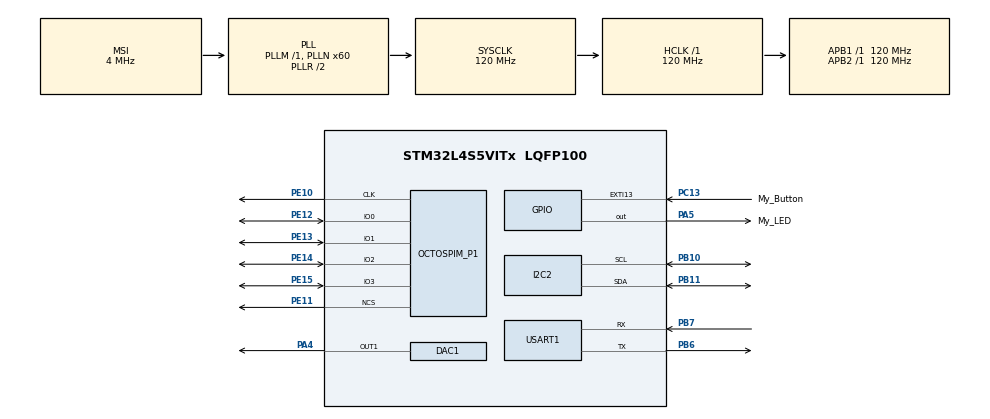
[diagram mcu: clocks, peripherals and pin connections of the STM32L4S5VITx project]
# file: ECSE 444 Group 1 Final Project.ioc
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DAC1.DAC_Trigger-DAC_OUT1=DAC_TRIGGER_T2_TRGO
Dma.DAC1_CH1.0.Direction=DMA_MEMORY_TO_PERIPH
Dma.DAC1_CH1.0.EventEnable=DISABLE
Dma.DAC1_CH1.0.Instance=DMA1_Channel1
Dma.DAC1_CH1.0.MemDataAlignment=DMA_MDATAALIGN_BYTE
Dma.DAC1_CH1.0.MemInc=DMA_MINC_ENABLE
Dma.DAC1_CH1.0.Mode=DMA_CIRCULAR
Dma.DAC1_CH1.0.PeriphDataAlignment=DMA_PDATAALIGN_BYTE
Dma.DAC1_CH1.0.PeriphInc=DMA_PINC_DISABLE
Dma.DAC1_CH1.0.Polarity=HAL_DMAMUX_REQUEST_GEN_RISING
Dma.DAC1_CH1.0.Priority=DMA_PRIORITY_LOW
Dma.DAC1_CH1.0.RequestNumber=1
Dma.DAC1_CH1.0.SignalID=NONE
Dma.DAC1_CH1.0.SyncEnable=DISABLE
Dma.DAC1_CH1.0.SyncPolarity=HAL_DMAMUX_SYNC_NO_EVENT
Dma.DAC1_CH1.0.SyncRequestNumber=1
Dma.DAC1_CH1.0.SyncSignalID=NONE
Dma.Request0=DAC1_CH1
I2C2.Timing=0x307075B1
Mcu.Family=STM32L4
Mcu.Name=STM32L4S5VITx
Mcu.Package=LQFP100
NVIC.DMA1_Channel1_IRQn=true\:0\:0\:false\:false\:true\:false\:true\:true
NVIC.EXTI15_10_IRQn=true\:0\:0\:false\:false\:true\:true\:true\:true
NVIC.PriorityGroup=NVIC_PRIORITYGROUP_4
NVIC.TIM2_IRQn=true\:0\:0\:false\:false\:true\:true\:true\:true
NVIC.TIM6_DAC_IRQn=true\:15\:0\:false\:false\:true\:false\:true\:true
NVIC.TimeBase=TIM6_DAC_IRQn
NVIC.TimeBaseIP=TIM6
PA4.Signal=COMP_DAC11_group
PA5.GPIO_Label=My_LED
PA5.Signal=GPIO_Output
PB10.Mode=I2C
PB10.Signal=I2C2_SCL
PB11.Mode=I2C
PB11.Signal=I2C2_SDA
PB6.Mode=Asynchronous
PB6.Signal=USART1_TX
PB7.Mode=Asynchronous
PB7.Signal=USART1_RX
PC13.GPIO_Label=My_Button
PC13.Signal=GPXTI13
PE10.Mode=O1_P1_CLK
PE10.Signal=OCTOSPIM_P1_CLK
PE11.Mode=OCTOSPI1_Port1_NCS
PE11.Signal=OCTOSPIM_P1_NCS
PE12.Mode=OCTOSPI1_IOL_Port1L
PE12.Signal=OCTOSPIM_P1_IO0
PE13.Mode=OCTOSPI1_IOL_Port1L
PE13.Signal=OCTOSPIM_P1_IO1
PE14.Mode=OCTOSPI1_IOL_Port1L
PE14.Signal=OCTOSPIM_P1_IO2
PE15.Mode=OCTOSPI1_IOL_Port1L
PE15.Signal=OCTOSPIM_P1_IO3
ProjectManager.HeapSize=0x200
ProjectManager.StackSize=0x400
ProjectManager.TargetToolchain=STM32CubeIDE
RCC.ADCFreq_Value=48000000
RCC.AHBFreq_Value=120000000
RCC.APB1Freq_Value=120000000
RCC.APB1TimFreq_Value=120000000
RCC.APB2Freq_Value=120000000
RCC.APB2TimFreq_Value=120000000
RCC.CortexFreq_Value=120000000
RCC.HCLKFreq_Value=120000000
RCC.HSE_VALUE=8000000
RCC.HSI48_VALUE=48000000
RCC.HSI_VALUE=16000000
RCC.LSE_VALUE=32768
RCC.MSI_VALUE=4000000
RCC.PLLN=60
RCC.PLLSAI1N=24
RCC.SYSCLKFreq_VALUE=120000000
RCC.SYSCLKSource=RCC_SYSCLKSOURCE_PLLCLK
RCC.USBFreq_Value=48000000
RCC.VCOOutputFreq_Value=240000000
SH.COMP_DAC11_group.0=DAC1_OUT1,DAC_OUT1
TIM2.Period=1814
TIM2.TIM_MasterOutputTrigger=TIM_TRGO_UPDATE
USART1.VirtualMode-Asynchronous=VM_ASYNC
VP_OCTOSPI1_VS_quad.Mode=quad_mode
VP_SYS_VS_tim6.Mode=TIM6
VP_TIM2_VS_ClockSourceINT.Mode=Internal
board=B-L4S5I-IOT01A

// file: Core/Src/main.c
/* USER CODE BEGIN Header */
/**
  ******************************************************************************
  * @file           : main.c
  * @brief          : Main program body
  ******************************************************************************
  * @attention
  *
  * Copyright (c) 2022 STMicroelectronics.
  * All rights reserved.
  *
  * This software is licensed under terms that can be found in the LICENSE file
  * in the root directory of this software component.
  * If no LICENSE file comes with this software, it is provided AS-IS.
  *
  ******************************************************************************
  */
/* USER CODE END Header */
#include "main.h"

/* USER CODE BEGIN Includes */
#define ARM_MATH_CN4
#include "arm_math.h"

#include "stm32l4s5i_iot01.h"
#include "stm32l4s5i_iot01_gyro.h"
#include "stm32l4s5i_iot01_qspi.h"

#include <stdio.h>
#include <string.h>
#include <stdlib.h>
/* USER CODE END Includes */

/* USER CODE BEGIN PD */
#define GYRO_SIGMA_TO_DEGREESx10 14286
#define ROAD_WIDTH 4
#define ROAD_LENGTH 10
#define pi 3.14159265
/* USER CODE END PD */

 DAC_HandleTypeDef hdac1;
DMA_HandleTypeDef hdma_dac1_ch1;

I2C_HandleTypeDef hi2c2;

OSPI_HandleTypeDef hospi1;

TIM_HandleTypeDef htim2;

UART_HandleTypeDef huart1;

/* USER CODE BEGIN PV */
int MAX_COUNT = 3;

char gyro_buf[100];
char UI_buf[400];

static int ax = 0;
static int ay = 0;
static int az = 0;

float previous_gyro[3];
float gyro_values[3];
int deg_values[3];

int obstacle[4];
int random_value;
int satellite_pos;

int turning_flag = 0;
int obs_pos = -1;
int is_pressed = 0;
int is_printed = 0;

HAL_StatusTypeDef  UART_status;

// UI Definitions
// Demo
/*
1th     |     |     ^     |     |       where obstacle was created
2nd     |     ^     |     ^     |
3rd     ^     |     |     |     ^
4th     |     |     |     |     |
5th     |     |     |     |     |
6th     |     |     |     |     |
7th     |     |     |     |     |
8th     |     |     |     |     |
9th     |     |     |     |     |
10h     |     |     |     |     |       satellite
 */

// each line has 33 characters
// notice "\\" is one character for '\'
char map[400] = "v     |     |     ^     |     |\r\n"
				" v    |     ^     |     ^     |\r\n"
				"  v   ^     |     |     |     ^\r\n"
				"   v  |     |     |     |     |\r\n"
				"    v |     |     |     |     |\r\n"
				"    v |     |     |     |     |\r\n"
				"   v  |     |     |     |     |\r\n"
				"  v   |     |     |     |     |\r\n"
				" v    |     |     |     |     |\r\n"
				"v     |     |     |     |     |\r\n";

char satellite_UI[5] = "=[x]=";

int satellite_pos = 0;

char *welcome = "|~~~~~~~~~~~~~~~~~~~~~~~~~~~~~|\r\n"
				"|                             |\r\n"
				"|                             |\r\n"
				"|          Press              |\r\n"
				"|          Blue Button        |\r\n"
				"|          To Start           |\r\n"
				"|                             |\r\n"
				"|                             |\r\n"
				"|                             |\r\n"
				"|~~~~~~~~~~~~~~~~~~~~~~~~~~~~~|\r\n";

char *end_1= "|~~~~~~~~~~~~~~~~~~~~~~~~~~~~~|\r\n"
			 "|                             |\r\n"
		     "|         Game over!          |\r\n"
		     "|         Your Score:         |\r\n";
char *end_2= "|                             |\r\n"
			 "|         Press               |\r\n"
			 "|         Blue Button         |\r\n"
			 "|         To Restart          |\r\n"
			 "|~~~~~~~~~~~~~~~~~~~~~~~~~~~~~|\r\n";

int score = 0;

char obs_UI[5] = "oOoOo";

// update map when it reach 4
int mapUpdateCounter = 0;
int order = 0;

// 0 welcome message
// 1 start game
// 2 game over
int gameStatus = 0;

// The arrays to store the tones
uint8_t F3[253];
uint8_t G3[225];
uint8_t A3[200];
uint8_t AA3[189];
uint8_t B3[179];

uint8_t C4[169];
uint8_t CC4[159];
uint8_t D4[150];
uint8_t DD4[142];
uint8_t E4[134];
uint8_t F4[126];
uint8_t FF4[120];
uint8_t G4[113];
uint8_t GG4[106];
uint8_t A4[100];
uint8_t AA4[95];
uint8_t B4[89];

uint8_t C5[84];
uint8_t CC5[80];
uint8_t D5[75];
uint8_t DD5[71];
uint8_t E5[67];
uint8_t F5[63];
uint8_t FF5[60];
uint8_t G5[56];
uint8_t GG5[53];
uint8_t A5[50];
uint8_t AA5[47];
uint8_t B5[45];

uint8_t C6[42];
uint8_t CC6[40];
uint8_t D6[38];
uint8_t DD6[35];
uint8_t E6[33];
uint8_t F6[32];
uint8_t FF6[30];
uint8_t G6[28];
uint8_t GG6[27];
uint8_t A6[25];
uint8_t AA6[24];
uint8_t B6[22];

uint8_t C7[21];
uint8_t CC7[20];
uint8_t D7[19];
uint8_t DD7[18];
uint8_t E7[17];
uint8_t F7[16];
uint8_t FF7[15];
uint8_t G7[14];
uint8_t GG7[13];
uint8_t A7[13];
uint8_t AA7[12];
uint8_t B7[11];

uint8_t C8[11];
uint8_t CC8[10];
uint8_t D8[9];
uint8_t DD8[9];
uint8_t E8[8];
uint8_t F8[8];
uint8_t FF8[7];
uint8_t G8[7];
uint8_t GG8[7];
uint8_t A8[6];
uint8_t AA8[6];
uint8_t B8[6];

uint8_t Pause[1];

uint32_t addr = 0x000000;
uint32_t game_music_addr = 0x00000000;
uint32_t slow_music_addr = 0x00020000;
uint32_t music2_addr = 0x00000000;
/* USER CODE END PV */

void SystemClock_Config(void);
static void MX_GPIO_Init(void);
static void MX_DAC1_Init(void);
static void MX_DMA_Init(void);
static void MX_USART1_UART_Init(void);
static void MX_I2C2_Init(void);
static void MX_TIM2_Init(void);
static void MX_OCTOSPI1_Init(void);

/* USER CODE BEGIN 0 */

/**
  * @brief Do the  integration for the gyroscope
  *
  * @param sample_x: value of x
  * @param sample_y: value of y
  * @param sample_z: value of z
  *
  * @retval None
  */
void gyroIntegrate(int sample_x, int sample_y, int sample_z)
{
    ax += sample_x - previous_gyro[0];
    ay += sample_y - previous_gyro[1];
    az += sample_z - previous_gyro[2];
}

/**
  * @brief Convert the gyroscope outputs to degree
  *
  *
  * @param xdeg: degree of x = ax * s / r
  * @param ydeg: degree of y = ay * s / r
  * @param zdeg: degree of z = az * s / r
  *
  * @note r is the gyro resolution in degrees per second (0.07)
  * @note s is the sample rate (100)
  * @note GYRO_SIGMA_TO_DEGREESx10 = 100 / 0.07 * 10 = 1428.57 * 10 = 14286
  * @note Times by 100 to change to integer instead of float
  *
  * @retval None
  */
void getAngleXYZ(int *deg_values)
{
	deg_values[0] = (ax * 10) / GYRO_SIGMA_TO_DEGREESx10;
	deg_values[1] = (ay * 10) / GYRO_SIGMA_TO_DEGREESx10;
	deg_values[2] = (az * 10) / GYRO_SIGMA_TO_DEGREESx10;
}

/**
  * @brief Update the map by copying each row
  */
void updateMap()
{
	// Copy the last row and paste to first row later
	char temp[40] = "";
	for (int j = 0; j < 33; j++){
		temp[j] =  map[33 * 9 + j];
	}

	// Copy the first row to the second row, second to third, and third to forth
	int i = 0;
	for (i = 9; i > 0; i--){
		for (int j = 0; j < 33; j++){
			map[33 * i + j] =  map[33 * (i - 1) + j];
		}
	}

	// Update first row
	map[0]  = temp[0];
	map[6]  = temp[6];
	map[12] = temp[12];
	map[18] = temp[18];
	map[24] = temp[24];
	map[30] = temp[30];

	for (int j = 1; j < 6; j++){
		map[j] = temp[j];
		map[6 + j]  = ' ';
		map[12 + j] = ' ';
		map[18 + j] = ' ';
		map[24 + j] = ' ';
	}
}

/**
  * @brief Update the satellite in UI
  *
  * @param x: the new position of the satellite in UI
  *
  */
void updateSatellite(int x){
	// clear the old position first
	for (int i = 0; i < 5; i++){
		map[33 * 9 + 6 + 6 * satellite_pos + 1 + i] = ' ';
	}

	if (x >= 0 && x <= 3){
		for (int j = 0; j < 5; j++){
			map[33 * 9 + 6 + 1 + (6 * x) + j] = satellite_UI[j];
		}
		satellite_pos = x;

	} else {
		updateSatellite(satellite_pos);
	}
}

/**
  * @brief Put a obstacle in UI
  *
  * @param x: the position of the obstacle in UI
  *
  */
void generateObstacle(int track){
	if(track >= 0 && track <= 3){
		for (int j = 0; j < 5; j++){
			map[6 + 6 * track + 1 + j] = obs_UI[j];
		}
	}
}

/**
  * @brief Clean the screen and print the message inputed
  *
  * @param msg: The message to be printed
  *
  */
void printMessage(char *msg){
	// Clear the content first
	memset(UI_buf, 0, strlen(UI_buf));
	sprintf(UI_buf, "\033[10A");
	HAL_UART_Transmit(&huart1, (uint8_t *) UI_buf, (uint16_t) strlen(UI_buf), 30000);

	// Clean UI_buf
	memset(UI_buf, 0, strlen(UI_buf));
	sprintf(UI_buf, msg);
	HAL_UART_Transmit(&huart1, (uint8_t *) UI_buf, strlen(UI_buf), 10000);
}

/**
  * @brief Print the ending UI
  */
void printEndingMessage(){
	memset(UI_buf, 0, strlen(UI_buf));
	sprintf(UI_buf, "\033[2J\033[10A");
	HAL_UART_Transmit(&huart1, (uint8_t *) UI_buf, (uint16_t) strlen(UI_buf), 30000);

	memset(UI_buf, 0, strlen(UI_buf));	//clears UI_buf
	sprintf(UI_buf, end_1);
	HAL_UART_Transmit(&huart1, (uint8_t *) UI_buf, sizeof(UI_buf), 10000);

	memset(UI_buf, 0, strlen(UI_buf));	//clears UI_buf
	sprintf(UI_buf, "|             %4d            |\r\n", score);
	HAL_UART_Transmit(&huart1, (uint8_t *) UI_buf, sizeof(UI_buf), 10000);

	memset(UI_buf, 0, strlen(UI_buf));	//clears UI_buf
	sprintf(UI_buf, end_2);
	HAL_UART_Transmit(&huart1, (uint8_t *) UI_buf, sizeof(UI_buf), 10000);

}

/**
 * @brief Create the tones needed for the music and sound effect
 */
void createTones(){

	// Pause
	for(int i = 0; i < 1; i++){
		Pause[i] = (uint8_t) 0;
	}

	/**
	 * ===================== Octave 3 =====================
	 */

	// Tone F3 = 174.61 Hz
	for(int i = 0; i < 253; i++){
		F3[i] = (uint8_t) (0.33 * (1 + arm_sin_f32(2 * pi * i / 253)) * 256);
	}

	// Tone G3 = 196.00 Hz
	for(int i = 0; i < 225; i++){
		G3[i] = (uint8_t) (0.33 * (1 + arm_sin_f32(2 * pi * i / 225)) * 256);
	}

	// Tone A3 = 220.00 Hz
	for(int i = 0; i < 200; i++){
		A3[i] = (uint8_t) (0.33 * (1 + arm_sin_f32(2 * pi * i / 200)) * 256);
	}

	// Tone AA3 = 233.08 Hz
	for(int i = 0; i < 189; i++){
		AA3[i] = (uint8_t) (0.33 * (1 + arm_sin_f32(2 * pi * i / 189)) * 256);
	}

	// Tone B3 = 246.94 Hz
	for(int i = 0; i < 179; i++){
		B3[i] = (uint8_t) (0.33 * (1 + arm_sin_f32(2 * pi * i / 179)) * 256);
	}

	/**
	 * ===================== Octave 4 =====================
	 */
	// Tone C4 = 261.63 Hz
	for(int i = 0; i < 169; i++){
		C4[i] = (uint8_t) (0.33 * (1 + arm_sin_f32(2 * pi * i / 169)) * 256);
	}

	// Tone CC4 = 277.18 Hz
	for(int i = 0; i < 159; i++){
		CC4[i] = (uint8_t) (0.33 * (1 + arm_sin_f32(2 * pi * i / 159)) * 256);
	}

	// Tone D4 = 293.66 Hz
	for(int i = 0; i < 150; i++){
		D4[i] = (uint8_t) (0.33 * (1 + arm_sin_f32(2 * pi * i / 150)) * 256);
	}

	// Tone DD4 = 311.13 Hz
	for(int i = 0; i < 142; i++){
		DD4[i] = (uint8_t) (0.33 * (1 + arm_sin_f32(2 * pi * i / 142)) * 256);
	}

	// Tone E4 = 329.63 Hz
	for(int i = 0; i < 134; i++){
		E4[i] = (uint8_t) (0.33 * (1 + arm_sin_f32(2 * pi * i / 134)) * 256);
	}

	// Tone F4 = 349.23 Hz
	for(int i = 0; i < 126; i++){
		F4[i] = (uint8_t) (0.33 * (1 + arm_sin_f32(2 * pi * i / 126)) * 256);
	}

	// Tone FF4 = 369.99 Hz
	for(int i = 0; i < 120; i++){
		FF4[i] = (uint8_t) (0.33 * (1 + arm_sin_f32(2 * pi * i / 120)) * 256);
	}

	// Tone G4 = 392.00 Hz
	for(int i = 0; i < 113; i++){
		G4[i] = (uint8_t) (0.33 * (1 + arm_sin_f32(2 * pi * i / 113)) * 256);
	}

	// Tone GG4 = 415.30 Hz
	for(int i = 0; i < 106; i++){
		GG4[i] = (uint8_t) (0.33 * (1 + arm_sin_f32(2 * pi * i / 106)) * 256);
	}

	// Tone A4 = 440.00 Hz
	for(int i = 0; i < 100; i++){
		A4[i] = (uint8_t) (0.33 * (1 + arm_sin_f32(2 * pi * i / 100)) * 256);
	}

	// Tone AA4 = 466.16 Hz
	for(int i = 0; i < 95; i++){
		AA4[i] = (uint8_t) (0.33 * (1 + arm_sin_f32(2 * pi * i / 95)) * 256);
	}

	// Tone B4 = 493.88 Hz
	for(int i = 0; i < 89; i++){
		B4[i] = (uint8_t) (0.33 * (1 + arm_sin_f32(2 * pi * i / 89)) * 256);
	}

	/**
	 * ===================== Octave 5 =====================
	 */
	// Tone C5 = 523.25 Hz
	for(int i = 0; i < 84; i++){
		C5[i] = (uint8_t) (0.33 * (1 + arm_sin_f32(2 * pi * i / 84)) * 256);
	}

	// Tone CC5 = 554.37 Hz
	for(int i = 0; i < 80; i++){
		CC5[i] = (uint8_t) (0.33 * (1 + arm_sin_f32(2 * pi * i / 80)) * 256);
	}

	// Tone D5 = 587.33 Hz
	for(int i = 0; i < 75; i++){
		D5[i] = (uint8_t) (0.33 * (1 + arm_sin_f32(2 * pi * i / 75)) * 256);
	}

	// Tone DD5 = 622.25 Hz
	for(int i = 0; i < 71; i++){
		DD5[i] = (uint8_t) (0.33 * (1 + arm_sin_f32(2 * pi * i / 71)) * 256);
	}

	// Tone E5 = 659.25 Hz
	for(int i = 0; i < 67; i++){
		E5[i] = (uint8_t) (0.33 * (1 + arm_sin_f32(2 * pi * i / 67)) * 256);
	}

	// Tone F5 = 698.46 Hz
	for(int i = 0; i < 63; i++){
		F5[i] = (uint8_t) (0.33 * (1 + arm_sin_f32(2 * pi * i / 63)) * 256);
	}

	// Tone FF5 = 739.99 Hz
	for(int i = 0; i < 60; i++){
		FF5[i] = (uint8_t) (0.33 * (1 + arm_sin_f32(2 * pi * i / 60)) * 256);
	}

	// Tone G5 = 783.99 Hz
	for(int i = 0; i < 56; i++){
		G5[i] = (uint8_t) (0.33 * (1 + arm_sin_f32(2 * pi * i / 56)) * 256);
	}

	// Tone GG5 = 830.61 Hz
	for(int i = 0; i < 53; i++){
		GG5[i] = (uint8_t) (0.33 * (1 + arm_sin_f32(2 * pi * i / 53)) * 256);
	}

	// Tone A5 = 880.00 Hz
	for(int i = 0; i < 50; i++){
		A5[i] = (uint8_t) (0.33 * (1 + arm_sin_f32(2 * pi * i / 50)) * 256);
	}

	// Tone AA5 = 932.33 Hz
	for(int i = 0; i < 47; i++){
		AA5[i] = (uint8_t) (0.33 * (1 + arm_sin_f32(2 * pi * i / 47)) * 256);
	}

	// Tone B5 = 987.77 Hz
	for(int i = 0; i < 45; i++){
		B5[i] = (uint8_t) (0.33 * (1 + arm_sin_f32(2 * pi * i / 45)) * 256);
	}

	/**
	 * ===================== Octave 6 =====================
	 */
	// Tone C6 = 1046.50 Hz
	for(int i = 0; i < 42; i++){
		C6[i] = (uint8_t) (0.33 * (1 + arm_sin_f32(2 * pi * i / 42)) * 256);
	}

	// Tone CC6 = 1108.73 Hz
	for(int i = 0; i < 40; i++){
		CC6[i] = (uint8_t) (0.33 * (1 + arm_sin_f32(2 * pi * i / 40)) * 256);
	}

	// Tone D6 = 1174.66 Hz
	for(int i = 0; i < 38; i++){
		D6[i] = (uint8_t) (0.33 * (1 + arm_sin_f32(2 * pi * i / 38)) * 256);
	}

	// Tone DD6 = 1244.51 Hz
	for(int i = 0; i < 35; i++){
		DD6[i] = (uint8_t) (0.33 * (1 + arm_sin_f32(2 * pi * i / 35)) * 256);
	}

	// Tone E6 = 1318.51 Hz
	for(int i = 0; i < 33; i++){
		E6[i] = (uint8_t) (0.33 * (1 + arm_sin_f32(2 * pi * i / 33)) * 256);
	}

	// Tone F6 = 1396.91 Hz
	for(int i = 0; i < 32; i++){
		F6[i] = (uint8_t) (0.33 * (1 + arm_sin_f32(2 * pi * i / 32)) * 256);
	}

	// Tone FF6 = 1479.98 Hz
	for(int i = 0; i < 30; i++){
		FF6[i] = (uint8_t) (0.33 * (1 + arm_sin_f32(2 * pi * i / 30)) * 256);
	}

	// Tone G6 = 1567.98 Hz
	for(int i = 0; i < 28; i++){
		G6[i] = (uint8_t) (0.33 * (1 + arm_sin_f32(2 * pi * i / 28)) * 256);
	}

	// Tone GG6 = 1661.22 Hz
	for(int i = 0; i < 27; i++){
		GG6[i] = (uint8_t) (0.33 * (1 + arm_sin_f32(2 * pi * i / 27)) * 256);
	}

	// Tone A6 = 1760.00 Hz
	for(int i = 0; i < 25; i++){
		A6[i] = (uint8_t) (0.33 * (1 + arm_sin_f32(2 * pi * i / 25)) * 256);
	}

	// Tone AA6 = 1864.66 Hz
	for(int i = 0; i < 24; i++){
		AA6[i] = (uint8_t) (0.33 * (1 + arm_sin_f32(2 * pi * i / 24)) * 256);
	}

	// Tone B6 = 1975.53 Hz
	for(int i = 0; i < 22; i++){
		B6[i] = (uint8_t) (0.33 * (1 + arm_sin_f32(2 * pi * i / 22)) * 256);
	}

	/**
	 * ===================== Octave 7 =====================
	 */
	// Tone C7 = 2093.00 Hz
	for(int i = 0; i < 21; i++){
		C7[i] = (uint8_t) (0.33 * (1 + arm_sin_f32(2 * pi * i / 21)) * 256);
	}

	// Tone CC7 = 2217.46 Hz
	for(int i = 0; i < 20; i++){
		CC7[i] = (uint8_t) (0.33 * (1 + arm_sin_f32(2 * pi * i / 20)) * 256);
	}

	// Tone D7 = 2349.32 Hz
	for(int i = 0; i < 19; i++){
		D7[i] = (uint8_t) (0.33 * (1 + arm_sin_f32(2 * pi * i / 19)) * 256);
	}

	// Tone DD7 = 2489.02 Hz
	for(int i = 0; i < 18; i++){
		DD7[i] = (uint8_t) (0.33 * (1 + arm_sin_f32(2 * pi * i / 18)) * 256);
	}

	// Tone E7 = 2637.02 Hz
	for(int i = 0; i < 17; i++){
		E7[i] = (uint8_t) (0.33 * (1 + arm_sin_f32(2 * pi * i / 17)) * 256);
	}

	// Tone F7 = 2793.83 Hz
	for(int i = 0; i < 16; i++){
		F7[i] = (uint8_t) (0.33 * (1 + arm_sin_f32(2 * pi * i / 16)) * 256);
	}

	// Tone FF7 = 2959.96 Hz
	for(int i = 0; i < 15; i++){
		FF7[i] = (uint8_t) (0.33 * (1 + arm_sin_f32(2 * pi * i / 15)) * 256);
	}

	// Tone G7 = 3135.96 Hz
	for(int i = 0; i < 14; i++){
		G7[i] = (uint8_t) (0.33 * (1 + arm_sin_f32(2 * pi * i / 14)) * 256);
	}

	// Tone GG7 = 3322.44 Hz
	for(int i = 0; i < 13; i++){
		GG7[i] = (uint8_t) (0.33 * (1 + arm_sin_f32(2 * pi * i / 13)) * 256);
	}

	// Tone A7 = 3520.00 Hz
	for(int i = 0; i < 13; i++){
		A7[i] = (uint8_t) (0.33 * (1 + arm_sin_f32(2 * pi * i / 13)) * 256);
	}

	// Tone AA7 = 3729.31 Hz
	for(int i = 0; i < 12; i++){
		AA7[i] = (uint8_t) (0.33 * (1 + arm_sin_f32(2 * pi * i / 12)) * 256);
	}

	// Tone B7 = 3951.07 Hz
	for(int i = 0; i < 11; i++){
		B7[i] = (uint8_t) (0.33 * (1 + arm_sin_f32(2 * pi * i / 11)) * 256);
	}

	/**
	 * ===================== Octave 8 =====================
	 */
	// Tone C8 = 4186.01 Hz
	for(int i = 0; i < 11; i++){
		C8[i] = (uint8_t) (0.33 * (1 + arm_sin_f32(2 * pi * i / 11)) * 256);
	}

	// Tone CC8 = 4434.92 Hz
	for(int i = 0; i < 10; i++){
		CC8[i] = (uint8_t) (0.33 * (1 + arm_sin_f32(2 * pi * i / 10)) * 256);
	}

	// Tone D8 = 4698.63 Hz
	for(int i = 0; i < 9; i++){
		D8[i] = (uint8_t) (0.33 * (1 + arm_sin_f32(2 * pi * i / 9)) * 256);
	}

	// Tone DD8 = 4978.03 Hz
	for(int i = 0; i < 9; i++){
		DD8[i] = (uint8_t) (0.33 * (1 + arm_sin_f32(2 * pi * i / 9)) * 256);
	}

	// Tone E8 = 5274.04 Hz
	for(int i = 0; i < 8; i++){
		E8[i] = (uint8_t) (0.33 * (1 + arm_sin_f32(2 * pi * i / 8)) * 256);
	}

	// Tone F8 = 5587.65 Hz
	for(int i = 0; i < 8; i++){
		F8[i] = (uint8_t) (0.33 * (1 + arm_sin_f32(2 * pi * i / 8)) * 256);
	}

	// Tone FF8 = 5919.91 Hz
	for(int i = 0; i < 7; i++){
		FF8[i] = (uint8_t) (0.33 * (1 + arm_sin_f32(2 * pi * i / 7)) * 256);
	}

	// Tone G8 = 6271.93 Hz
	for(int i = 0; i < 7; i++){
		G8[i] = (uint8_t) (0.33 * (1 + arm_sin_f32(2 * pi * i / 7)) * 256);
	}

	// Tone GG8 = 6644.88 Hz
	for(int i = 0; i < 7; i++){
		GG8[i] = (uint8_t) (0.33 * (1 + arm_sin_f32(2 * pi * i / 7)) * 256);
	}

	// Tone A8 = 7040.00 Hz
	for(int i = 0; i < 6; i++){
		A8[i] = (uint8_t) (0.33 * (1 + arm_sin_f32(2 * pi * i / 6)) * 256);
	}

	// Tone AA8 = 7458.62 Hz
	for(int i = 0; i < 6; i++){
		AA8[i] = (uint8_t) (0.33 * (1 + arm_sin_f32(2 * pi * i / 6)) * 256);
	}

	// Tone B8 = 7902.13 Hz
	for(int i = 0; i < 6; i++){
		B8[i] = (uint8_t) (0.33 * (1 + arm_sin_f32(2 * pi * i / 6)) * 256);
	}
}

void writePause(){
	  for(int i = 0; i < 8; i++){
	  	  if(BSP_QSPI_Write((uint8_t *)Pause, game_music_addr, 1) != QSPI_OK){
	  		  Error_Handler();
	  	  }
	  	game_music_addr += 1;
	  }
}

void writeMegalovaniaQuick(){
	 int factor = 50;

	 for(int i = 0; i < factor; i++){
	  	  if(BSP_QSPI_Write((uint8_t *)D5, game_music_addr, 75) != QSPI_OK){
	  		  Error_Handler();
	  	  }
	  	  game_music_addr += 75;
	  }

	  writePause();

	  for(int i = 0; i < factor; i++){
	  	  if(BSP_QSPI_Write((uint8_t *)D5, game_music_addr, 75) != QSPI_OK){
	  		  Error_Handler();
	  	  }
	  	  game_music_addr += 75;
	  }

	  writePause();

	  for(int i = 0; i < factor * 2; i++){
	  	  	  if(BSP_QSPI_Write((uint8_t *)D6, game_music_addr, 38) != QSPI_OK){
	  	  		  Error_Handler();
	  	  	  }
		  game_music_addr += 38;
	  }

	  writePause();

	  for(int i = 0; i < factor * 3; i++){
	  	  	  if(BSP_QSPI_Write((uint8_t *)A5, game_music_addr, 50) != QSPI_OK){
	  	  		  Error_Handler();
	  	  	  }
		  game_music_addr += 50;
	  }

	  writePause();

	  for(int i = 0; i < factor * 2; i++){
	  	  	  if(BSP_QSPI_Write((uint8_t *)GG5, game_music_addr, 53) != QSPI_OK){
	  	  		  Error_Handler();
	  	  	  }
		  game_music_addr += 53;
	  }

	  writePause();

	  for(int i = 0; i < factor * 2; i++){
	  	  	  if(BSP_QSPI_Write((uint8_t *)G5, game_music_addr, 56) != QSPI_OK){
	  	  		  Error_Handler();
	  	  	  }
		  game_music_addr += 56;
	  }

	  writePause();

	  for(int i = 0; i < factor * 2; i++){
	  	  	  if(BSP_QSPI_Write((uint8_t *)F5, game_music_addr, 63) != QSPI_OK){
	  	  		  Error_Handler();
	  	  	  }
		  game_music_addr += 63;
	  }

	  writePause();

	  for(int i = 0; i < factor; i++){
	  	  	  if(BSP_QSPI_Write((uint8_t *)D5, game_music_addr, 75) != QSPI_OK){
	  	  		  Error_Handler();
	  	  	  }
		  game_music_addr += 75;
	  }

	  writePause();

	  for(int i = 0; i < factor; i++){
	  	  	  if(BSP_QSPI_Write((uint8_t *)F5, game_music_addr, 63) != QSPI_OK){
	  	  		  Error_Handler();
	  	  	  }
		  game_music_addr += 63;
	  }

	  writePause();

	  for(int i = 0; i < factor; i++){
	  	  	  if(BSP_QSPI_Write((uint8_t *)G5, game_music_addr, 56) != QSPI_OK){
	  	  		  Error_Handler();
	  	  	  }
		  game_music_addr += 56;
	  }

	  writePause();

	  for(int i = 0; i < factor; i++){
	  	  	  if(BSP_QSPI_Write((uint8_t *)C5, game_music_addr, 84) != QSPI_OK){
	  	  		  Error_Handler();
	  	  	  }
		  game_music_addr += 84;
	  }

	  writePause();

	  for(int i = 0; i < factor; i++){
	  	  	  if(BSP_QSPI_Write((uint8_t *)C5, game_music_addr, 84) != QSPI_OK){
	  	  		  Error_Handler();
	  	  	  }
		  game_music_addr += 84;
	  }

	  writePause();

	  for(int i = 0; i < factor * 2; i++){
	  	  	  if(BSP_QSPI_Write((uint8_t *)D6, game_music_addr, 38) != QSPI_OK){
	  	  		  Error_Handler();
	  	  	  }
		  game_music_addr += 38;
	  }

	  writePause();

	  for(int i = 0; i < factor * 3; i++){
	  	  	  if(BSP_QSPI_Write((uint8_t *)A5, game_music_addr, 50) != QSPI_OK){
	  	  		  Error_Handler();
	  	  	  }
		  game_music_addr += 50;
	  }

	  writePause();

	  for(int i = 0; i < factor * 2; i++){
	  	  	  if(BSP_QSPI_Write((uint8_t *)GG5, game_music_addr, 53) != QSPI_OK){
	  	  		  Error_Handler();
	  	  	  }
		  game_music_addr += 53;
	  }

	  writePause();

	  for(int i = 0; i < factor * 2; i++){
	  	  	  if(BSP_QSPI_Write((uint8_t *)G5, game_music_addr, 56) != QSPI_OK){
	  	  		  Error_Handler();
	  	  	  }
		  game_music_addr += 56;
	  }

	  writePause();

	  for(int i = 0; i < factor * 2; i++){
	  	  	  if(BSP_QSPI_Write((uint8_t *)F5, game_music_addr, 63) != QSPI_OK){
	  	  		  Error_Handler();
	  	  	  }
		  game_music_addr += 63;
	  }

	  writePause();

	  for(int i = 0; i < factor; i++){
	  	  	  if(BSP_QSPI_Write((uint8_t *)D5, game_music_addr, 75) != QSPI_OK){
	  	  		  Error_Handler();
	  	  	  }
		  game_music_addr += 75;
	  }

	  writePause();

	  for(int i = 0; i < factor; i++){
	  	  	  if(BSP_QSPI_Write((uint8_t *)F5, game_music_addr, 63) != QSPI_OK){
	  	  		  Error_Handler();
	  	  	  }
		  game_music_addr += 63;
	  }

	  writePause();

	  for(int i = 0; i < factor; i++){
	  	  	  if(BSP_QSPI_Write((uint8_t *)G5, game_music_addr, 56) != QSPI_OK){
	  	  		  Error_Handler();
	  	  	  }
		  game_music_addr += 56;
	  }

	  writePause();
}

void writePauseSlow(){
	  for(int i = 0; i < 8; i++){
	  	  if(BSP_QSPI_Write((uint8_t *)Pause, slow_music_addr, 1) != QSPI_OK){
	  		  Error_Handler();
	  	  }
	  	slow_music_addr += 1;
	  }
}

void writeMegalovaniaSlow(){
	 int factor = 100;

	 for(int i = 0; i < factor; i++){
	  	  if(BSP_QSPI_Write((uint8_t *)D5, slow_music_addr, 75) != QSPI_OK){
	  		  Error_Handler();
	  	  }
	  	  slow_music_addr += 75;
	  }

	  writePauseSlow();

	  for(int i = 0; i < factor; i++){
	  	  if(BSP_QSPI_Write((uint8_t *)D5, slow_music_addr, 75) != QSPI_OK){
	  		  Error_Handler();
	  	  }
	  	  slow_music_addr += 75;
	  }

	  writePauseSlow();

	  for(int i = 0; i < factor * 2; i++){
	  	  	  if(BSP_QSPI_Write((uint8_t *)D6, slow_music_addr, 38) != QSPI_OK){
	  	  		  Error_Handler();
	  	  	  }
		  slow_music_addr += 38;
	  }

	  writePauseSlow();

	  for(int i = 0; i < factor * 3; i++){
	  	  	  if(BSP_QSPI_Write((uint8_t *)A5, slow_music_addr, 50) != QSPI_OK){
	  	  		  Error_Handler();
	  	  	  }
		  slow_music_addr += 50;
	  }

	  writePauseSlow();

	  for(int i = 0; i < factor * 2; i++){
	  	  	  if(BSP_QSPI_Write((uint8_t *)GG5, slow_music_addr, 53) != QSPI_OK){
	  	  		  Error_Handler();
	  	  	  }
		  slow_music_addr += 53;
	  }

	  writePauseSlow();

	  for(int i = 0; i < factor * 2; i++){
	  	  	  if(BSP_QSPI_Write((uint8_t *)G5, slow_music_addr, 56) != QSPI_OK){
	  	  		  Error_Handler();
	  	  	  }
		  slow_music_addr += 56;
	  }

	  writePauseSlow();

	  for(int i = 0; i < factor * 2; i++){
	  	  	  if(BSP_QSPI_Write((uint8_t *)F5, slow_music_addr, 63) != QSPI_OK){
	  	  		  Error_Handler();
	  	  	  }
		  slow_music_addr += 63;
	  }

	  writePauseSlow();

	  for(int i = 0; i < factor; i++){
	  	  	  if(BSP_QSPI_Write((uint8_t *)D5, slow_music_addr, 75) != QSPI_OK){
	  	  		  Error_Handler();
	  	  	  }
		  slow_music_addr += 75;
	  }

	  writePauseSlow();

	  for(int i = 0; i < factor; i++){
	  	  	  if(BSP_QSPI_Write((uint8_t *)F5, slow_music_addr, 63) != QSPI_OK){
	  	  		  Error_Handler();
	  	  	  }
		  slow_music_addr += 63;
	  }

	  writePauseSlow();

	  for(int i = 0; i < factor; i++){
	  	  	  if(BSP_QSPI_Write((uint8_t *)G5, slow_music_addr, 56) != QSPI_OK){
	  	  		  Error_Handler();
	  	  	  }
		  slow_music_addr += 56;
	  }

	  writePauseSlow();

	  for(int i = 0; i < factor; i++){
	  	  	  if(BSP_QSPI_Write((uint8_t *)C5, slow_music_addr, 84) != QSPI_OK){
	  	  		  Error_Handler();
	  	  	  }
		  slow_music_addr += 84;
	  }

	  writePauseSlow();

	  for(int i = 0; i < factor; i++){
	  	  	  if(BSP_QSPI_Write((uint8_t *)C5, slow_music_addr, 84) != QSPI_OK){
	  	  		  Error_Handler();
	  	  	  }
		  slow_music_addr += 84;
	  }

	  writePauseSlow();

	  for(int i = 0; i < factor * 2; i++){
	  	  	  if(BSP_QSPI_Write((uint8_t *)D6, slow_music_addr, 38) != QSPI_OK){
	  	  		  Error_Handler();
	  	  	  }
		  slow_music_addr += 38;
	  }

	  writePauseSlow();

	  for(int i = 0; i < factor * 3; i++){
	  	  	  if(BSP_QSPI_Write((uint8_t *)A5, slow_music_addr, 50) != QSPI_OK){
	  	  		  Error_Handler();
	  	  	  }
		  slow_music_addr += 50;
	  }

	  writePauseSlow();

	  for(int i = 0; i < factor * 2; i++){
	  	  	  if(BSP_QSPI_Write((uint8_t *)GG5, slow_music_addr, 53) != QSPI_OK){
	  	  		  Error_Handler();
	  	  	  }
		  slow_music_addr += 53;
	  }

	  writePauseSlow();

	  for(int i = 0; i < factor * 2; i++){
	  	  	  if(BSP_QSPI_Write((uint8_t *)G5, slow_music_addr, 56) != QSPI_OK){
	  	  		  Error_Handler();
	  	  	  }
		  slow_music_addr += 56;
	  }

	  writePauseSlow();

	  for(int i = 0; i < factor * 2; i++){
	  	  	  if(BSP_QSPI_Write((uint8_t *)F5, slow_music_addr, 63) != QSPI_OK){
	  	  		  Error_Handler();
	  	  	  }
		  slow_music_addr += 63;
	  }

	  writePauseSlow();

	  for(int i = 0; i < factor; i++){
	  	  	  if(BSP_QSPI_Write((uint8_t *)D5, slow_music_addr, 75) != QSPI_OK){
	  	  		  Error_Handler();
	  	  	  }
		  slow_music_addr += 75;
	  }

	  writePauseSlow();

	  for(int i = 0; i < factor; i++){
	  	  	  if(BSP_QSPI_Write((uint8_t *)F5, slow_music_addr, 63) != QSPI_OK){
	  	  		  Error_Handler();
	  	  	  }
		  slow_music_addr += 63;
	  }

	  writePauseSlow();

	  for(int i = 0; i < factor; i++){
	  	  	  if(BSP_QSPI_Write((uint8_t *)G5, slow_music_addr, 56) != QSPI_OK){
	  	  		  Error_Handler();
	  	  	  }
		  slow_music_addr += 56;
	  }

	  writePauseSlow();
}

void writeStartMenuMusic(){
	int factor = 100;

	for(int i = 0; i < factor; i++){
		if(BSP_QSPI_Write((uint8_t *)G4, game_music_addr, 113) != QSPI_OK){
			Error_Handler();
		}
		game_music_addr += 113;
	}

	writePause();

	for(int i = 0; i < factor; i++){
		if(BSP_QSPI_Write((uint8_t *)G5, game_music_addr, 56) != QSPI_OK){
			Error_Handler();
		}
		game_music_addr += 56;
	}

	writePause();

	for(int i = 0; i < factor * 2; i++){
		if(BSP_QSPI_Write((uint8_t *)D5, game_music_addr, 75) != QSPI_OK){
			Error_Handler();
		}
		game_music_addr += 75;
	}

	writePause();

	for(int i = 0; i < factor; i++){
		if(BSP_QSPI_Write((uint8_t *)C5, game_music_addr, 84) != QSPI_OK){
			Error_Handler();
		}
		game_music_addr += 84;
	}

	writePause();

	for(int i = 0; i < factor; i++){
		if(BSP_QSPI_Write((uint8_t *)G5, game_music_addr, 56) != QSPI_OK){
			Error_Handler();
		}
		game_music_addr += 56;
	}

	writePause();

	for(int i = 0; i < factor * 2; i++){
		if(BSP_QSPI_Write((uint8_t *)G4, game_music_addr, 113) != QSPI_OK){
			Error_Handler();
		}
		game_music_addr += 113;
	}

	writePause();

	for(int i = 0; i < factor; i++){
		if(BSP_QSPI_Write((uint8_t *)G4, game_music_addr, 113) != QSPI_OK){
			Error_Handler();
		}
		game_music_addr += 113;
	}

	writePause();

	for(int i = 0; i < factor; i++){
		if(BSP_QSPI_Write((uint8_t *)C5, game_music_addr, 84) != QSPI_OK){
			Error_Handler();
		}
		game_music_addr += 84;
	}

	writePause();

	for(int i = 0; i < factor; i++){
		if(BSP_QSPI_Write((uint8_t *)G5, game_music_addr, 56) != QSPI_OK){
			Error_Handler();
		}
		game_music_addr += 56;
	}

	writePause();

	for(int i = 0; i < factor; i++){
		if(BSP_QSPI_Write((uint8_t *)A5, game_music_addr, 50) != QSPI_OK){
			Error_Handler();
		}
		game_music_addr += 50;
	}

	writePause();

	for(int i = 0; i < factor; i++){
		if(BSP_QSPI_Write((uint8_t *)G5, game_music_addr, 56) != QSPI_OK){
			Error_Handler();
		}
		game_music_addr += 56;
	}

	writePause();

	for(int i = 0; i < factor; i++){
		if(BSP_QSPI_Write((uint8_t *)D5, game_music_addr, 75) != QSPI_OK){
			Error_Handler();
		}
		game_music_addr += 75;
	}

	writePause();

	for(int i = 0; i < factor * 2; i++){
		if(BSP_QSPI_Write((uint8_t *)C5, game_music_addr, 84) != QSPI_OK){
			Error_Handler();
		}
		game_music_addr += 84;
	}

	writePause();

}

/**
 * @brief Reset the game values
 */
void gameReset(){
	ax = 0;
	ay = 0;
	az = 0;
	satellite_pos = 0;
	turning_flag = 0;
	score = 0;
	obs_pos = -1;

	for (int i = 0; i <= 2; i++){
		previous_gyro[i] = 0;
		gyro_values[i] = 0;
		deg_values[i] = 0;
	}

	for (int j = 0; j <= 3; j++){
		obstacle[j] = 0;
	}
}

/* USER CODE END 0 */

int main(void)
{

  /* MCU Configuration--------------------------------------------------------*/

  /* Reset of all peripherals, Initializes the Flash interface and the Systick. */
  HAL_Init();

  /* USER CODE BEGIN Init */
  // Initialize the sensors
  BSP_GYRO_Init();
  BSP_QSPI_Init();

  gyro_values[0] = 0;
  gyro_values[1] = 0;
  gyro_values[2] = 0;

  createTones();
  /* USER CODE END Init */

  /* Configure the system clock */
  SystemClock_Config();

  /* Initialize all configured peripherals */
  MX_GPIO_Init();
  MX_DMA_Init();
  MX_DAC1_Init();
  MX_USART1_UART_Init();
  MX_I2C2_Init();
  MX_TIM2_Init();
  MX_OCTOSPI1_Init();
  /* USER CODE BEGIN 2 */
  HAL_DAC_Start(&hdac1, DAC_CHANNEL_1);

  for(int i = 0; i < 10; i++){
  	  if(BSP_QSPI_Erase_Block(addr + i * 0x00010000) != QSPI_OK){
  		  Error_Handler();
  	  }
  }

  uint8_t megalovania_slow[184760] = {0};
  uint8_t megalovania_quick[92460] = {0};

  writeMegalovaniaSlow();
  writeMegalovaniaQuick();

  // Start the DAC and Timer
  HAL_DAC_Start(&hdac1, DAC_CHANNEL_1);
  HAL_TIM_Base_Start_IT(&htim2);
  //184760
  //98688
  //92460

  /* USER CODE END 2 */

  /* Infinite loop */
  while (1)
  {

    /* USER CODE BEGIN 3 */
		/**
		 * =============================== Update UI ===============================
		 */

		// In the start state
		if (gameStatus == 0){

			// If the welcome page haven't been printed, print it.
			if (is_printed == 0){
				is_printed = 1;
				gameReset();
				printMessage(welcome);
			}

			// If the button is pressed
			if (is_pressed == 1){
				is_pressed = 0;
				is_printed = 0;
				gameStatus = 1;
				MAX_COUNT = 3;

				if(BSP_QSPI_Read((uint8_t *)megalovania_slow, 0x00020000, 184760) != QSPI_OK){
					Error_Handler();
				}

				HAL_DAC_Stop_DMA(&hdac1, DAC_CHANNEL_1);
				HAL_DAC_Start_DMA(&hdac1, DAC_CHANNEL_1, megalovania_slow, 184760, DAC_ALIGN_8B_R);
			}

		// In the playing state
		} else if (gameStatus == 1) {
			if (mapUpdateCounter == MAX_COUNT - 1) {
				if (MAX_COUNT == 3 && score >= 50){
					MAX_COUNT--;
				}

				if (MAX_COUNT == 2 && score >= 150){
					MAX_COUNT--;

					if(BSP_QSPI_Read((uint8_t *)megalovania_quick, 0x00000000, 92460) != QSPI_OK){
						Error_Handler();
					}

					HAL_DAC_Stop_DMA(&hdac1, DAC_CHANNEL_1);
					HAL_DAC_Start_DMA(&hdac1, DAC_CHANNEL_1, megalovania_quick, 92460, DAC_ALIGN_8B_R);
				}

				updateMap();
				score++;

				// If a new obstacle is needed, create a new obstacle
				if (obs_pos < 0) {
					// Create an integer between 0 and ROAD_WIDTH.
					random_value = rand() % ROAD_WIDTH;
					obstacle[random_value] = ROAD_LENGTH;
					obs_pos = random_value;
					generateObstacle(obs_pos);

				}else {
					// else, update the obstacle position
					obstacle[obs_pos] -= 1;

					if(obstacle[obs_pos] <= 0){
						obs_pos = -1;
					}
				}
			}

			// Check if the game is over, and send the flag
			if(obstacle[satellite_pos] == 1) {
				gameStatus = 2;
			}

			mapUpdateCounter = (mapUpdateCounter + 1) % MAX_COUNT;

			/**
			 * =============================== Do Gyroscope Read ===============================
			 */
			// Store previous values
			previous_gyro[0] = gyro_values[0];
			previous_gyro[1] = gyro_values[1];
			previous_gyro[2] = gyro_values[2];

			// Read the sensors
			BSP_GYRO_GetXYZ(gyro_values);

			// Convert the values into degree changed
			gyroIntegrate(gyro_values[0], gyro_values[1], gyro_values[2]);
			getAngleXYZ(deg_values);

			// Clean the buffer for storing the outputs
			memset(gyro_buf, '\0', strlen(gyro_buf));

			// Do the gyroscope turning detection
			if(deg_values[2] <= -100){
//				sprintf(gyro_buf, "TURN RIGHT!\r\n");
				turning_flag = 1;

			}else if(deg_values[2] >= 100){
//				sprintf(gyro_buf, "TURN LEFT!\r\n");
				turning_flag = -1;

			}else{
//				sprintf(gyro_buf, "Gyro (x, y, z): (%d, %d, %d)\r\nDegree Changed (x, y, z): (%d, %d, %d)\r\n",
//								(int) gyro_values[0], (int) gyro_values[1], (int) gyro_values[2],
//								(int) deg_values[0], (int) deg_values[1], (int) deg_values[2]);
				turning_flag = 0;
			}

			/**
			 * =============================== Satellite Update ===============================
			 */
			int pos_to_update = satellite_pos;

			if (turning_flag == 1) pos_to_update = (satellite_pos + 1) > 3 ? 3 : satellite_pos + 1;
			else if (turning_flag == -1) pos_to_update = (satellite_pos - 1) < 0 ? 0 : satellite_pos - 1;

			updateSatellite(pos_to_update);
			printMessage(map);

			// When turned, give a signal by LED 1 and wait for 180ms
			if(turning_flag != 0){
				HAL_GPIO_TogglePin(My_LED_GPIO_Port, My_LED_Pin);
				turning_flag = 0;
//				HAL_Delay(100);
				HAL_GPIO_TogglePin(My_LED_GPIO_Port, My_LED_Pin);
			}

			if(is_pressed == 1){
				is_pressed = 0;
			}

		// In the game over state
		} else if (gameStatus == 2) {
			if(is_printed == 0){
				HAL_DAC_Stop_DMA(&hdac1, DAC_CHANNEL_1);
				is_printed = 1;
				printEndingMessage();
			}

			if(is_pressed == 1){
				is_pressed = 0;
				is_printed = 0;
				gameStatus = 0;
				score = 0;
			}
		}

		// Wait for 10ms to achieve 100Hz
		HAL_Delay(10);
  }
  /* USER CODE END 3 */
}

void SystemClock_Config(void)
{
  RCC_OscInitTypeDef RCC_OscInitStruct = {0};
  RCC_ClkInitTypeDef RCC_ClkInitStruct = {0};

  /** Configure the main internal regulator output voltage
  */
  if (HAL_PWREx_ControlVoltageScaling(PWR_REGULATOR_VOLTAGE_SCALE1_BOOST) != HAL_OK)
  {
    Error_Handler();
  }

  /** Initializes the RCC Oscillators according to the specified parameters
  * in the RCC_OscInitTypeDef structure.
  */
  RCC_OscInitStruct.OscillatorType = RCC_OSCILLATORTYPE_MSI;
  RCC_OscInitStruct.MSIState = RCC_MSI_ON;
  RCC_OscInitStruct.MSICalibrationValue = 0;
  RCC_OscInitStruct.MSIClockRange = RCC_MSIRANGE_6;
  RCC_OscInitStruct.PLL.PLLState = RCC_PLL_ON;
  RCC_OscInitStruct.PLL.PLLSource = RCC_PLLSOURCE_MSI;
  RCC_OscInitStruct.PLL.PLLM = 1;
  RCC_OscInitStruct.PLL.PLLN = 60;
  RCC_OscInitStruct.PLL.PLLP = RCC_PLLP_DIV2;
  RCC_OscInitStruct.PLL.PLLQ = RCC_PLLQ_DIV2;
  RCC_OscInitStruct.PLL.PLLR = RCC_PLLR_DIV2;
  if (HAL_RCC_OscConfig(&RCC_OscInitStruct) != HAL_OK)
  {
    Error_Handler();
  }

  /** Initializes the CPU, AHB and APB buses clocks
  */
  RCC_ClkInitStruct.ClockType = RCC_CLOCKTYPE_HCLK|RCC_CLOCKTYPE_SYSCLK
                              |RCC_CLOCKTYPE_PCLK1|RCC_CLOCKTYPE_PCLK2;
  RCC_ClkInitStruct.SYSCLKSource = RCC_SYSCLKSOURCE_PLLCLK;
  RCC_ClkInitStruct.AHBCLKDivider = RCC_SYSCLK_DIV1;
  RCC_ClkInitStruct.APB1CLKDivider = RCC_HCLK_DIV1;
  RCC_ClkInitStruct.APB2CLKDivider = RCC_HCLK_DIV1;

  if (HAL_RCC_ClockConfig(&RCC_ClkInitStruct, FLASH_LATENCY_5) != HAL_OK)
  {
    Error_Handler();
  }
}

static void MX_DAC1_Init(void)
{

  DAC_ChannelConfTypeDef sConfig = {0};

  /** DAC Initialization
  */
  hdac1.Instance = DAC1;
  if (HAL_DAC_Init(&hdac1) != HAL_OK)
  {
    Error_Handler();
  }

  /** DAC channel OUT1 config
  */
  sConfig.DAC_SampleAndHold = DAC_SAMPLEANDHOLD_DISABLE;
  sConfig.DAC_Trigger = DAC_TRIGGER_T2_TRGO;
  sConfig.DAC_HighFrequency = DAC_HIGH_FREQUENCY_INTERFACE_MODE_DISABLE;
  sConfig.DAC_OutputBuffer = DAC_OUTPUTBUFFER_ENABLE;
  sConfig.DAC_ConnectOnChipPeripheral = DAC_CHIPCONNECT_DISABLE;
  sConfig.DAC_UserTrimming = DAC_TRIMMING_FACTORY;
  if (HAL_DAC_ConfigChannel(&hdac1, &sConfig, DAC_CHANNEL_1) != HAL_OK)
  {
    Error_Handler();
  }

}

static void MX_I2C2_Init(void)
{

  hi2c2.Instance = I2C2;
  hi2c2.Init.Timing = 0x307075B1;
  hi2c2.Init.OwnAddress1 = 0;
  hi2c2.Init.AddressingMode = I2C_ADDRESSINGMODE_7BIT;
  hi2c2.Init.DualAddressMode = I2C_DUALADDRESS_DISABLE;
  hi2c2.Init.OwnAddress2 = 0;
  hi2c2.Init.OwnAddress2Masks = I2C_OA2_NOMASK;
  hi2c2.Init.GeneralCallMode = I2C_GENERALCALL_DISABLE;
  hi2c2.Init.NoStretchMode = I2C_NOSTRETCH_DISABLE;
  if (HAL_I2C_Init(&hi2c2) != HAL_OK)
  {
    Error_Handler();
  }

  /** Configure Analogue filter
  */
  if (HAL_I2CEx_ConfigAnalogFilter(&hi2c2, I2C_ANALOGFILTER_ENABLE) != HAL_OK)
  {
    Error_Handler();
  }

  /** Configure Digital filter
  */
  if (HAL_I2CEx_ConfigDigitalFilter(&hi2c2, 0) != HAL_OK)
  {
    Error_Handler();
  }

}

static void MX_OCTOSPI1_Init(void)
{

  OSPIM_CfgTypeDef OSPIM_Cfg_Struct = {0};

  /* OCTOSPI1 parameter configuration*/
  hospi1.Instance = OCTOSPI1;
  hospi1.Init.FifoThreshold = 1;
  hospi1.Init.DualQuad = HAL_OSPI_DUALQUAD_DISABLE;
  hospi1.Init.MemoryType = HAL_OSPI_MEMTYPE_MICRON;
  hospi1.Init.DeviceSize = 32;
  hospi1.Init.ChipSelectHighTime = 1;
  hospi1.Init.FreeRunningClock = HAL_OSPI_FREERUNCLK_DISABLE;
  hospi1.Init.ClockMode = HAL_OSPI_CLOCK_MODE_0;
  hospi1.Init.ClockPrescaler = 1;
  hospi1.Init.SampleShifting = HAL_OSPI_SAMPLE_SHIFTING_NONE;
  hospi1.Init.DelayHoldQuarterCycle = HAL_OSPI_DHQC_DISABLE;
  hospi1.Init.ChipSelectBoundary = 0;
  hospi1.Init.DelayBlockBypass = HAL_OSPI_DELAY_BLOCK_BYPASSED;
  if (HAL_OSPI_Init(&hospi1) != HAL_OK)
  {
    Error_Handler();
  }
  OSPIM_Cfg_Struct.ClkPort = 1;
  OSPIM_Cfg_Struct.NCSPort = 1;
  OSPIM_Cfg_Struct.IOLowPort = HAL_OSPIM_IOPORT_1_LOW;
  if (HAL_OSPIM_Config(&hospi1, &OSPIM_Cfg_Struct, HAL_OSPI_TIMEOUT_DEFAULT_VALUE) != HAL_OK)
  {
    Error_Handler();
  }

}

static void MX_TIM2_Init(void)
{

  TIM_ClockConfigTypeDef sClockSourceConfig = {0};
  TIM_MasterConfigTypeDef sMasterConfig = {0};

  htim2.Instance = TIM2;
  htim2.Init.Prescaler = 0;
  htim2.Init.CounterMode = TIM_COUNTERMODE_UP;
  htim2.Init.Period = 1814;
  htim2.Init.ClockDivision = TIM_CLOCKDIVISION_DIV1;
  htim2.Init.AutoReloadPreload = TIM_AUTORELOAD_PRELOAD_DISABLE;
  if (HAL_TIM_Base_Init(&htim2) != HAL_OK)
  {
    Error_Handler();
  }
  sClockSourceConfig.ClockSource = TIM_CLOCKSOURCE_INTERNAL;
  if (HAL_TIM_ConfigClockSource(&htim2, &sClockSourceConfig) != HAL_OK)
  {
    Error_Handler();
  }
  sMasterConfig.MasterOutputTrigger = TIM_TRGO_UPDATE;
  sMasterConfig.MasterSlaveMode = TIM_MASTERSLAVEMODE_DISABLE;
  if (HAL_TIMEx_MasterConfigSynchronization(&htim2, &sMasterConfig) != HAL_OK)
  {
    Error_Handler();
  }

}

static void MX_USART1_UART_Init(void)
{

  huart1.Instance = USART1;
  huart1.Init.BaudRate = 115200;
  huart1.Init.WordLength = UART_WORDLENGTH_8B;
  huart1.Init.StopBits = UART_STOPBITS_1;
  huart1.Init.Parity = UART_PARITY_NONE;
  huart1.Init.Mode = UART_MODE_TX_RX;
  huart1.Init.HwFlowCtl = UART_HWCONTROL_NONE;
  huart1.Init.OverSampling = UART_OVERSAMPLING_16;
  huart1.Init.OneBitSampling = UART_ONE_BIT_SAMPLE_DISABLE;
  huart1.Init.ClockPrescaler = UART_PRESCALER_DIV1;
  huart1.AdvancedInit.AdvFeatureInit = UART_ADVFEATURE_NO_INIT;
  if (HAL_UART_Init(&huart1) != HAL_OK)
  {
    Error_Handler();
  }
  if (HAL_UARTEx_SetTxFifoThreshold(&huart1, UART_TXFIFO_THRESHOLD_1_8) != HAL_OK)
  {
    Error_Handler();
  }
  if (HAL_UARTEx_SetRxFifoThreshold(&huart1, UART_RXFIFO_THRESHOLD_1_8) != HAL_OK)
  {
    Error_Handler();
  }
  if (HAL_UARTEx_DisableFifoMode(&huart1) != HAL_OK)
  {
    Error_Handler();
  }

}

static void MX_DMA_Init(void)
{

  /* DMA controller clock enable */
  __HAL_RCC_DMAMUX1_CLK_ENABLE();
  __HAL_RCC_DMA1_CLK_ENABLE();

  /* DMA interrupt init */
  /* DMA1_Channel1_IRQn interrupt configuration */
  HAL_NVIC_SetPriority(DMA1_Channel1_IRQn, 0, 0);
  HAL_NVIC_EnableIRQ(DMA1_Channel1_IRQn);

}

static void MX_GPIO_Init(void)
{
  GPIO_InitTypeDef GPIO_InitStruct = {0};

  /* GPIO Ports Clock Enable */
  __HAL_RCC_GPIOC_CLK_ENABLE();
  __HAL_RCC_GPIOA_CLK_ENABLE();
  __HAL_RCC_GPIOE_CLK_ENABLE();
  __HAL_RCC_GPIOB_CLK_ENABLE();

  /*Configure GPIO pin Output Level */
  HAL_GPIO_WritePin(My_LED_GPIO_Port, My_LED_Pin, GPIO_PIN_RESET);

  /*Configure GPIO pin : My_Button_Pin */
  GPIO_InitStruct.Pin = My_Button_Pin;
  GPIO_InitStruct.Mode = GPIO_MODE_IT_RISING;
  GPIO_InitStruct.Pull = GPIO_NOPULL;
  HAL_GPIO_Init(My_Button_GPIO_Port, &GPIO_InitStruct);

  /*Configure GPIO pin : My_LED_Pin */
  GPIO_InitStruct.Pin = My_LED_Pin;
  GPIO_InitStruct.Mode = GPIO_MODE_OUTPUT_PP;
  GPIO_InitStruct.Pull = GPIO_NOPULL;
  GPIO_InitStruct.Speed = GPIO_SPEED_FREQ_LOW;
  HAL_GPIO_Init(My_LED_GPIO_Port, &GPIO_InitStruct);

  /* EXTI interrupt init*/
  HAL_NVIC_SetPriority(EXTI15_10_IRQn, 0, 0);
  HAL_NVIC_EnableIRQ(EXTI15_10_IRQn);

}

/* USER CODE BEGIN 4 */
// GPIO Callback Function
void HAL_GPIO_EXTI_Callback(uint16_t GPIO_Pin)
{
	if ((int) GPIO_Pin == (int) My_Button_Pin) {
		is_pressed = 1;
	}
}
/* USER CODE END 4 */

void HAL_TIM_PeriodElapsedCallback(TIM_HandleTypeDef *htim)
{
  if (htim->Instance == TIM6) {
    HAL_IncTick();
  }
}

void Error_Handler(void)
{
  __disable_irq();
  while (1)
  {
  }
}
